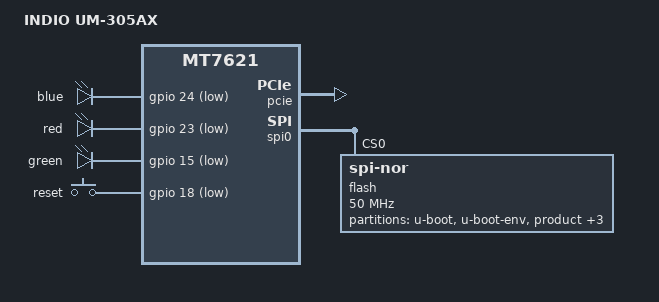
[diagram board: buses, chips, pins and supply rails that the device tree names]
// SPDX-License-Identifier: GPL-2.0-or-later OR MIT

#include "mt7621.dtsi"

#include <dt-bindings/gpio/gpio.h>
#include <dt-bindings/input/input.h>

/ {
	compatible = "indio,um-305ax", "mediatek,mt7621-soc";
	model = "INDIO UM-305AX";

	aliases {
		led-boot = &led_green;
		led-failsafe = &led_red;
		led-running = &led_blue;
		led-upgrade = &led_red;
		label-mac-device = &wan_port;
	};

	chosen {
		bootargs = "console=ttyS0,115200";
		bootargs-override = "console=ttyS0,115200";
	};

	leds {
		compatible = "gpio-leds";

		led_blue: blue {
			label = "blue";
			gpios = <&gpio 24 GPIO_ACTIVE_LOW>;
			default-state = "off";
		};

		led_red: red {
			label = "red";
			gpios = <&gpio 23 GPIO_ACTIVE_LOW>;
			default-state = "off";
		};

		led_green: green {
			label = "green";
			gpios = <&gpio 15 GPIO_ACTIVE_LOW>;
		};
	};

	keys {
		compatible = "gpio-keys-polled";
		poll-interval = <50>;
		pinctrl-names = "default";

		reset {
			label = "reset";
			gpios = <&gpio 18 GPIO_ACTIVE_LOW>;
			linux,code = <KEY_RESTART>;
		};
	};
};

&state_default {
	gpio {
		groups = "rgmii2";
		function = "gpio";
	};
};

&pcie {
	status = "okay";
};

&pcie1 {
	wifi@0,0 {
		reg = <0x0 0 0 0 0>;
		mediatek,mtd-eeprom = <&factory 0x0>;
	};
};

&gmac0 {
	mtd-mac-address = <&factory 0x4>;
};

&switch0 {
	ports {
		wan_port: port@0 {
			status = "okay";
			label = "wan";
			mtd-mac-address = <&factory 0x28>;
		};

		port@1 {
			status = "okay";
			label = "lan";
		};
	};
};

&spi0 {
	status = "okay";

	flash@0 {
		compatible = "jedec,spi-nor";
		reg = <0>;
		spi-max-frequency = <50000000>;

		partitions {
			compatible = "fixed-partitions";
			#address-cells = <1>;
			#size-cells = <1>;

			partition@0 {
				label = "u-boot";
				reg = <0x0 0x30000>;
				read-only;
			};

			partition@30000 {
				label = "u-boot-env";
				reg = <0x30000 0x10000>;
				read-only;
			};

			partition@40000 {
				label = "product";
				reg = <0x40000 0x10000>;
				read-only;
			};

			factory: partition@50000 {
				label = "factory";
				reg = <0x50000 0x40000>;
				read-only;
			};
			partition@90000 {
				compatible = "denx,fit";
				label = "firmware";
				reg = <0x90000 0xf60000>;
			};

		        partition@ff0000 {
                                 label = "certificates";
                                 reg = <0xff0000 0x10000>;
                       };

		};
	};
};

